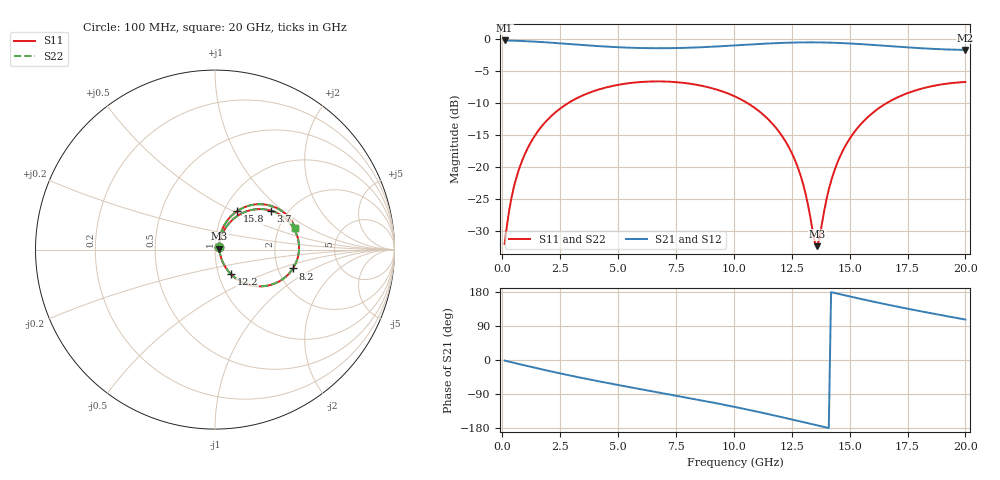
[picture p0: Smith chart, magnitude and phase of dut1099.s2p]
! Touchstone file exported from HFSS 2026.1.0
!  File:  C:/ffzhzh/LocalFiles/Ansys_Project_Files/temp_train_TSV_RDL_1099_1783302967_30076.aedt
!  Generated:  10:06:58 AM Jul  6, 2026
!  Design:  TSV_RDL
!  Project:  temp_train_TSV_RDL_1099_1783302967_30076
! Variables:
!  h_bsmrdl = 3.53um
!  h_ox = 20um
!  h_rdl = 5um
!  h_sub = 62.29um
!  h_tmrdl = 5.81um
!  h_tsv = 62.29um
!  h_via = 3um
!  l_bsmrdl = 437.69um
!  l_sub = 4297.34um
!  l_tmrdl = 624.22um
!  m_sub = 200um
!  pitch = 35.18um
!  r_tsv = 10.56um
!  s_tmrdl = 10um
!  w_bsmrdl = 16.76um
!  w_sub = 500um
!  w_tmrdl = 12.37um
!  x_tsv_center1 = 630.405um
!  x_tsv_center2 = 1084.855um
!  x_tsv_center3 = 1721.445um
!  x_tsv_center4 = 2175.895um
!  x_tsv_center5 = 2812.485um
!  x_tsv_center6 = 3266.935um
# GHz S MA R 50.000000
! Terminal data exported
! Port[1] = TM_RDL1_1_T1
! Port[2] = TM_RDL5_1_T1
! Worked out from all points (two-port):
!   200 points, 100 MHz to 20 GHz, reference 50 ohm
!   highest |S21| = -0.18 dB at 100 MHz (marker M1); lowest = -1.7 dB at 20 GHz (marker M2)
!   |S21| within 3 dB of the highest: start of sweep to end of sweep
!   lowest |S11| = -32.3 dB at 13.6 GHz (marker M3), VSWR 1.05, Z = 52.4 + j0.514 ohm
!   |S11| at or under -10 dB: start of sweep to 2.833 GHz; 10.6 GHz to 16.59 GHz (5.989 GHz wide, 44.1 % of centre)
!   |S22| runs from -32.2 to -6.6 dB; largest |S21 - S12| = 1.6e-14
!   S11 on the Smith chart (normalised r, x): 100 MHz: 1.04, +0.03; 3.7 GHz: 1.64, +0.83; 8.2 GHz: 2.42, -0.64; 12.2 GHz: 1.15, -0.32; 15.8 GHz: 1.15, +0.53; 20 GHz: 2.46, +0.74
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0.1  0.02515 32.0  0.9789 -1.5  0.9789 -1.5  0.02515 32.0
! Gamma 0 0 0 0
! Port Impedance 50 0 50 0
0.3  0.04629 56.7  0.9769 -4.5  0.9769 -4.5  0.04629 56.7
0.5  0.07001 62.9  0.9743 -7.4  0.9743 -7.4  0.07001 62.9
1.2  0.1528 62.9  0.963 -17.5  0.963 -17.5  0.1528 62.9
2.2  0.2596 52.6  0.9382 -31.4  0.9382 -31.4  0.2596 52.6
3.5  0.3659 37.4  0.9008 -48.1  0.9008 -48.1  0.3659 37.4
3.7  0.3787 35.1  0.8954 -50.6  0.8954 -50.6  0.3787 35.1
6.8  0.4685 1.3  0.8512 -86.1  0.8512 -86.1  0.4685 1.3
8.2  0.447 -13.6  0.8607 -101.9  0.8607 -101.9  0.4469 -13.6
10.1  0.3537 -34.7  0.8964 -124.6  0.8964 -124.6  0.3537 -34.6
11.3  0.2548 -48.3  0.9232 -140.2  0.9232 -140.2  0.2548 -48.2
12.2  0.1626 -57.1  0.9387 -152.6  0.9387 -152.6  0.1626 -57.0
12.9  0.08424 -58.6  0.9452 -162.5  0.9452 -162.5  0.08431 -58.4
13.4  0.03205 -33.6  0.9461 -169.6  0.9461 -169.6  0.03233 -33.0
13.6  0.02417 11.7  0.9456 -172.5  0.9456 -172.5  0.02459 11.7
14.1  0.06686 67.2  0.9418 -179.6  0.9418 -179.6  0.06705 66.9
14.5  0.1117 70.4  0.9365 174.8  0.9365 174.8  0.1118 70.2
15.1  0.1774 66.9  0.9253 166.4  0.9253 166.4  0.1775 66.8
15.8  0.2479 60.0  0.9088 157.0  0.9088 157.0  0.2479 59.9
16.7  0.3249 50.1  0.885 145.3  0.885 145.3  0.325 50.1
18.2  0.4156 33.7  0.8488 127.1  0.8488 127.1  0.4157 33.6
20  0.4636 14.8  0.8258 106.7  0.8258 106.7  0.4636 14.8
